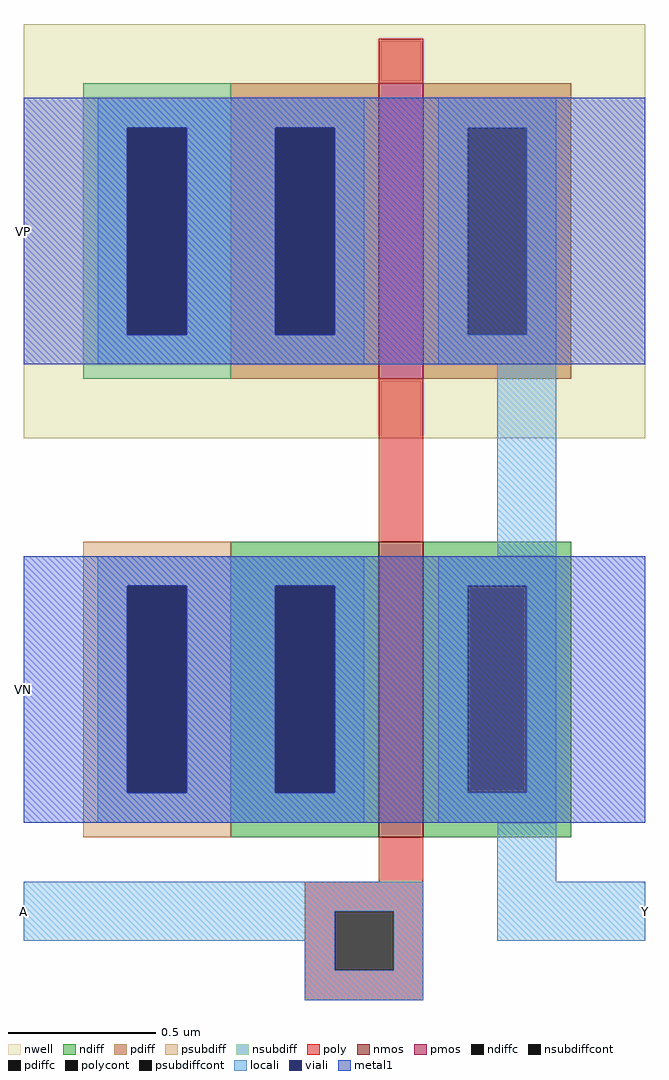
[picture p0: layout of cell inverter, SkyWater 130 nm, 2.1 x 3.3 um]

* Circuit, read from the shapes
.subckt inverter A Y VP VN
XM1 Y A VN VN sky130_fd_pr__nfet_01v8 w=1 l=0.15
XM2 Y A VP VP sky130_fd_pr__pfet_01v8 w=1 l=0.15
.ends

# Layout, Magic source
magic
tech sky130A
<< nwell >>
rect -240 45 -30 185
<< nmos >>
rect -120 -90 -105 10
<< pmos >>
rect -120 65 -105 165
<< ndiff >>
rect -170 -5 -120 10
rect -170 -75 -155 -5
rect -135 -75 -120 -5
rect -170 -90 -120 -75
rect -105 -5 -55 10
rect -105 -75 -90 -5
rect -70 -75 -55 -5
rect -105 -90 -55 -75
<< pdiff >>
rect -170 150 -120 165
rect -170 80 -155 150
rect -135 80 -120 150
rect -170 65 -120 80
rect -105 150 -55 165
rect -105 80 -90 150
rect -70 80 -55 150
rect -105 65 -55 80
<< ndiffc >>
rect -155 -75 -135 -5
rect -90 -75 -70 -5
<< pdiffc >>
rect -155 80 -135 150
rect -90 80 -70 150
<< psubdiff >>
rect -220 -5 -170 10
rect -220 -75 -205 -5
rect -185 -75 -170 -5
rect -220 -90 -170 -75
<< nsubdiff >>
rect -220 150 -170 165
rect -220 80 -205 150
rect -185 80 -170 150
rect -220 65 -170 80
<< psubdiffcont >>
rect -205 -75 -185 -5
<< nsubdiffcont >>
rect -205 80 -185 150
<< poly >>
rect -120 165 -105 180
rect -120 10 -105 65
rect -120 -105 -105 -90
rect -145 -115 -105 -105
rect -145 -135 -135 -115
rect -115 -135 -105 -115
rect -145 -145 -105 -135
<< polycont >>
rect -135 -135 -115 -115
<< locali >>
rect -215 150 -125 160
rect -215 80 -205 150
rect -185 80 -155 150
rect -135 80 -125 150
rect -215 70 -125 80
rect -100 150 -60 160
rect -100 80 -90 150
rect -70 80 -60 150
rect -100 70 -60 80
rect -80 5 -60 70
rect -215 -5 -125 5
rect -215 -75 -205 -5
rect -185 -75 -155 -5
rect -135 -75 -125 -5
rect -215 -85 -125 -75
rect -100 -5 -60 5
rect -100 -75 -90 -5
rect -70 -75 -60 -5
rect -100 -85 -60 -75
rect -80 -105 -60 -85
rect -240 -115 -105 -105
rect -240 -125 -135 -115
rect -145 -135 -135 -125
rect -115 -135 -105 -115
rect -80 -125 -30 -105
rect -145 -145 -105 -135
<< viali >>
rect -205 80 -185 150
rect -155 80 -135 150
rect -205 -75 -185 -5
rect -155 -75 -135 -5
<< metal1 >>
rect -240 150 -30 160
rect -240 80 -205 150
rect -185 80 -155 150
rect -135 80 -30 150
rect -240 70 -30 80
rect -240 -5 -30 5
rect -240 -75 -205 -5
rect -185 -75 -155 -5
rect -135 -75 -30 -5
rect -240 -85 -30 -75
<< labels >>
rlabel locali -240 -115 -240 -115 7 A
port 1 w
rlabel locali -30 -115 -30 -115 3 Y
port 2 e
rlabel metal1 -240 115 -240 115 7 VP
port 3 w
rlabel metal1 -240 -40 -240 -40 7 VN
port 4 w
<< end >>
